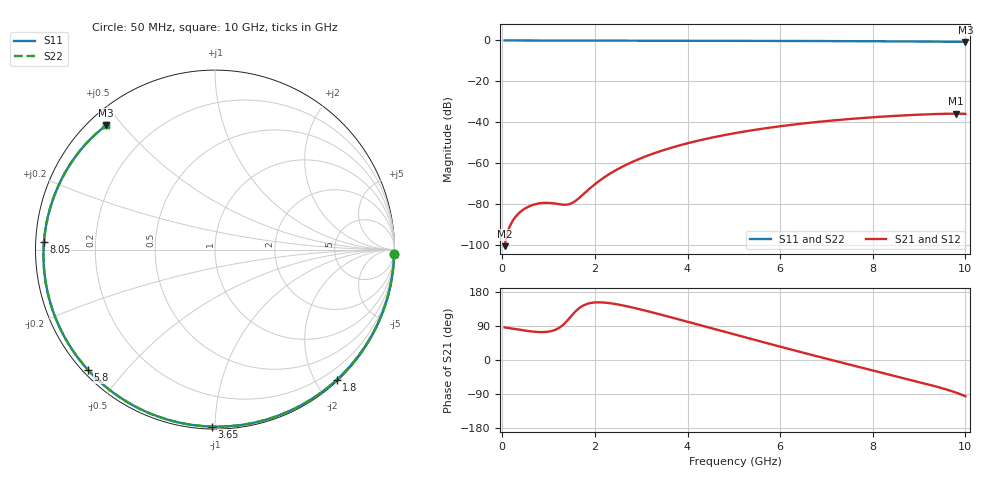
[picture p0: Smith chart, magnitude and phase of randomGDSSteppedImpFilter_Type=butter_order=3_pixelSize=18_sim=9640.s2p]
! freq	dB(S11)	phase(S11)	dB(S12)	phase(S12)
!  dB(S21)	phase(S21)	dB(S22)	phase(S22)
!S-par simulation data
#  GHz  S  DB  R 50
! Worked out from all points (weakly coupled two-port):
!   200 points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, 50 MHz to 10 GHz, reference 50 ohm
!   highest |S21| = -35.77 dB at 9.8 GHz (marker M1); lowest = -100.5 dB at 50 MHz (marker M2)
!   lowest |S11| = -0.7 dB at 10 GHz (marker M3), VSWR 23.91, Z = 2.52 + j22.6 ohm
!   |S11| at or under -10 dB: nowhere
!   |S22| runs from -0.7 to 0.0 dB; largest |S21 - S12| = 0
!   S11 on the Smith chart (normalised r, x): 50 MHz: 6, -88; 1.8 GHz: 0.02, -2.30; 3.65 GHz: 0.01, -0.98; 5.8 GHz: 0.01, -0.40; 8.05 GHz: 0.02, +0.02; 10 GHz: 0.05, +0.45
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0.05  -0.01 -1.3  -100.50 86.2  -100.50 86.2  -0.01 -1.3
0.7  -0.02 -18.6  -80.07 74.5  -80.07 74.5  -0.02 -18.6
0.95  -0.03 -25.2  -79.32 74.2  -79.32 74.2  -0.03 -25.2
1.45  -0.05 -38.1  -79.94 110.5  -79.94 110.5  -0.05 -38.1
1.6  -0.05 -41.9  -78.06 130.6  -78.06 130.6  -0.05 -41.9
1.75  -0.06 -45.7  -75.14 143.9  -75.14 143.9  -0.06 -45.7
1.8  -0.06 -47.0  -74.11 146.6  -74.11 146.6  -0.06 -47.0
2.15  -0.07 -55.7  -67.69 152.0  -67.69 152.0  -0.07 -55.7
2.5  -0.08 -64.2  -62.78 146.5  -62.78 146.5  -0.08 -64.2
2.9  -0.09 -73.7  -58.42 135.9  -58.42 135.9  -0.09 -73.7
3.4  -0.11 -85.3  -54.18 120.5  -54.18 120.5  -0.11 -85.3
3.65  -0.12 -91.0  -52.41 112.5  -52.41 112.5  -0.12 -90.9
4.35  -0.15 -106.3  -48.33 89.3  -48.33 89.3  -0.15 -106.3
5.05  -0.18 -121.2  -45.18 66.2  -45.18 66.2  -0.18 -121.1
5.8  -0.22 -136.6  -42.53 41.6  -42.53 41.6  -0.22 -136.6
6.7  -0.29 -154.8  -40.06 12.8  -40.06 12.8  -0.29 -154.8
7.4  -0.35 -169.1  -38.57 -9.0  -38.57 -9.0  -0.35 -169.1
8.05  -0.41 177.4  -37.46 -29.0  -37.46 -29.0  -0.41 177.4
8.35  -0.44 170.9  -37.03 -38.2  -37.03 -38.2  -0.44 171.0
9.1  -0.54 154.1  -36.16 -61.4  -36.16 -61.4  -0.54 154.2
9.8  -0.67 136.7  -35.77 -86.1  -35.77 -86.1  -0.67 136.7
10  -0.73 131.2  -35.88 -95.7  -35.88 -95.7  -0.73 131.2
